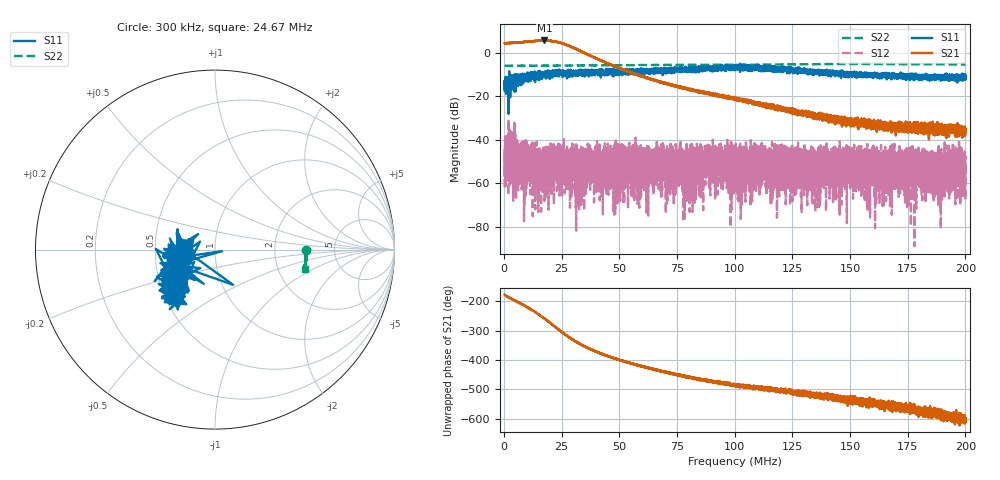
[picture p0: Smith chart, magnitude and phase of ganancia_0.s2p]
# Hz S DB R 50
! CMT, M5065, 19127446, 24.2.4/2
! Date: 11/8/2024 4:47:53 PM
! Data: Format (Calibration Info)
! Freq	S11:dB/Ang(F2)	S21:dB/Ang(F2)	S12:dB/Ang(F2)	S22:dB/Ang(F2)
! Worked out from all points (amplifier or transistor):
!   9000 points, 300 kHz to 200 MHz, reference 50 ohm
!   highest |S21| = 5.8 dB at 17.59 MHz (marker M1)
!   |S21| within 3 dB of that: start of sweep to 29.34 MHz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
!   unconditionally stable (mu >= 1): start of sweep to end of sweep
!   at 33.59 MHz: K = 73.90, MAG = 2.5 dB, |S12| = -47.8 dB
!   at 100.2 MHz: K = 1334.87, MAG = -18.9 dB, |S12| = -52.1 dB
!   at 200 MHz: K = 8012.93, MAG = -33.9 dB, |S12| = -52.0 dB
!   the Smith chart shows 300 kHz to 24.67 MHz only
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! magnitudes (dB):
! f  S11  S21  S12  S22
! 300 kHz  -12.9  4.5  -62.0  -5.9
! 1.476 MHz  -13.5  4.5  -44.7  -5.9
! 13.3 MHz  -10.9  5.5  -42.4  -5.8
! 17.59 MHz  -9.2  5.8  -50.4  -5.9
! 33.59 MHz  -9.4  0.6  -47.8  -5.8
! 37.25 MHz  -9.0  -1.1  -55.7  -5.7
! 42.46 MHz  -9.2  -3.6  -52.2  -5.7
! 66.87 MHz  -7.6  -13.0  -48.3  -5.5
! 85.36 MHz  -7.5  -18.0  -44.9  -5.5
! 88.31 MHz  -7.0  -18.7  -46.1  -5.5
! 95.08 MHz  -6.5  -20.4  -50.2  -5.4
! 100.2 MHz  -7.1  -21.3  -52.1  -5.4
! 116 MHz  -7.8  -24.2  -46.5  -5.3
! 117.1 MHz  -6.2  -25.6  -50.5  -5.3
! 121.6 MHz  -6.9  -26.1  -44.0  -5.3
! 133.4 MHz  -9.1  -28.5  -48.7  -5.1
! 139.7 MHz  -9.7  -29.1  -42.2  -5.1
! 142 MHz  -9.0  -30.4  -52.2  -5.1
! 144.1 MHz  -9.7  -31.6  -46.3  -5.1
! 146.2 MHz  -9.6  -32.0  -64.8  -5.1
! 166.7 MHz  -10.9  -33.1  -47.1  -5.1
! 200 MHz  -11.8  -35.7  -52.0  -5.3
